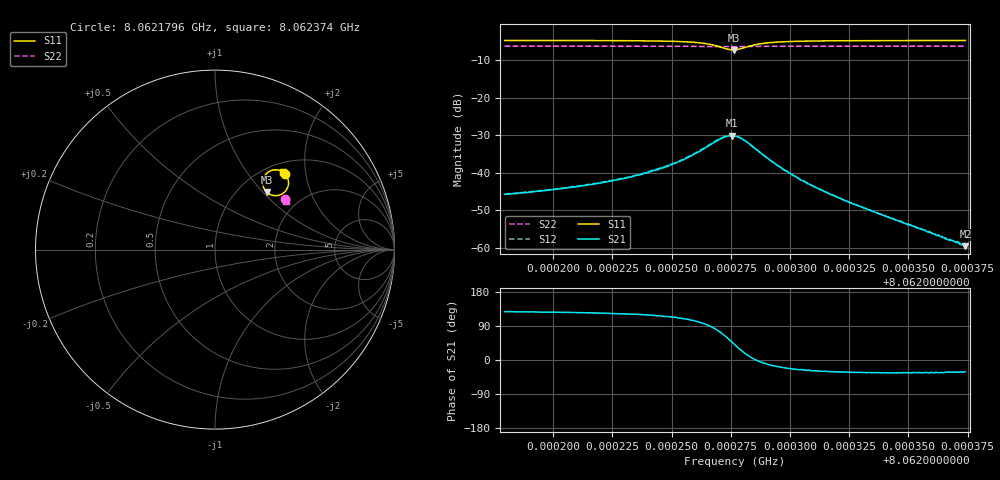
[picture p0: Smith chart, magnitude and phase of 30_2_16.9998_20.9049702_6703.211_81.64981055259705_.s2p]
#  HZ  S  RI  R  50.00
! Rohde & Schwarz Vector Network Analyzer
! Rohde-Schwarz,ZNB20-2Port,1311601062101988,3.16
! Created: UTC 3/20/2024, 10:53:21 PM
! freq[Hz]  re:S11  im:S11  re:S21  im:S21  re:S12  im:S12  re:S22  im:S22
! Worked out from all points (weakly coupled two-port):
!   401 points, 8.0621796 GHz to 8.062374 GHz, reference 50 ohm
!   highest |S21| = -30.12 dB at 8.0622753 GHz (marker M1); lowest = -59.6 dB at 8.062374 GHz (marker M2)
!   lowest |S11| = -7.3 dB at 8.0622763 GHz (marker M3), VSWR 2.51, Z = 66.6 + j52.5 ohm
!   |S11| at or under -10 dB: nowhere
!   |S22| runs from -6.5 to -6.3 dB; largest |S21 - S12| = 0.0028
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8.06217957e9  0.3905 0.4222  -0.00313 0.00409  -0.00289 0.00428  0.3919 0.2805
8.0621961e9  0.3932 0.4188  -0.00342 0.00462  -0.0032 0.00489  0.3925 0.2795
8.06221214e9  0.3967 0.4145  -0.00382 0.00548  -0.00353 0.00578  0.3931 0.2788
8.06223013e9  0.4016 0.4061  -0.00441 0.00714  -0.00403 0.00754  0.3938 0.2775
8.06224471e9  0.4071 0.3927  -0.00514 0.00998  -0.00447 0.0105  0.3941 0.2762
8.06225152e9  0.4093 0.3815  -0.00529 0.0123  -0.00433 0.0128  0.3942 0.2754
8.06225589e9  0.4097 0.3706  -0.00484 0.0146  -0.00389 0.0152  0.3942 0.2747
8.06226464e9  0.3992 0.3348  -0.00144 0.0218  0.000253 0.0223  0.3935 0.2729
8.06226853e9  0.3783 0.3131  0.00363 0.0256  0.00582 0.0258  0.3923 0.2722
8.06227194e9  0.3433 0.3007  0.0115 0.0271  0.014 0.0264  0.3908 0.272
8.06227534e9  0.298 0.3125  0.0207 0.0233  0.0229 0.0215  0.3894 0.2732
8.06227631e9  0.2869 0.3214  0.0227 0.021  0.0246 0.0189  0.389 0.2738
8.0622768e9  0.2819 0.3269  0.0236 0.0198  0.0254 0.0176  0.3889 0.2742
8.06227874e9  0.2689 0.3509  0.0256 0.0142  0.0268 0.0119  0.3889 0.2752
8.06228117e9  0.2662 0.3818  0.0254 0.00761  0.0258 0.00552  0.3894 0.2763
8.06228798e9  0.2948 0.4307  0.0178 -0.00187  0.0177 -0.0031  0.3916 0.2773
8.0622977e9  0.3301 0.4444  0.0101 -0.00386  0.00993 -0.00445  0.3934 0.2769
8.06230208e9  0.3397 0.4446  0.00823 -0.00363  0.00782 -0.0041  0.3939 0.2766
8.06230937e9  0.3507 0.4436  0.00593 -0.00315  0.00575 -0.00354  0.3945 0.2761
8.06232395e9  0.3634 0.44  0.00353 -0.00222  0.00346 -0.00241  0.3952 0.2751
8.06234194e9  0.3716 0.4364  0.00209 -0.0014  0.00202 -0.00152  0.3963 0.274
8.06237403e9  0.3794 0.4318  0.000898 -0.000548  0.000873 -0.000626  0.3975 0.2723
